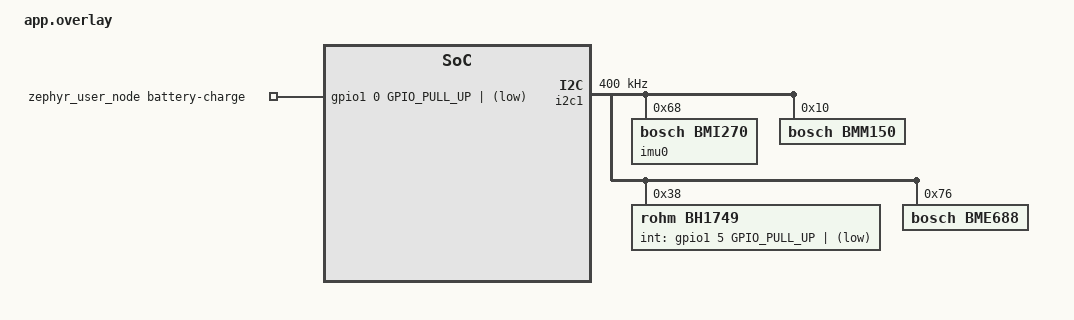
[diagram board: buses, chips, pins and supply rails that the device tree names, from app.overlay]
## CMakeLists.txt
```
# SPDX-License-Identifier: LicenseRef-Nordic-5-Clause
cmake_minimum_required(VERSION 3.20.0)

# Définition de la carte (override possible via -b BOARD=...)
set(BOARD thingy53_nrf5340_cpuapp)

# Overlay DTS à appliquer
set(DTC_OVERLAY_FILE ${CMAKE_CURRENT_SOURCE_DIR}/app.overlay)

find_package(Zephyr REQUIRED HINTS $ENV{ZEPHYR_BASE})
project(40_thread_gps LANGUAGES C CXX)

# Intégration de nlohmann/json
include(FetchContent)
FetchContent_Declare(
  nlohmann_json
  GIT_REPOSITORY https://github.com/nlohmann/json.git
  GIT_TAG v3.11.2
)
FetchContent_MakeAvailable(nlohmann_json)

# Rassemblement des sources
file(GLOB_RECURSE app_sources
  ${CMAKE_CURRENT_SOURCE_DIR}/src/*.c
  ${CMAKE_CURRENT_SOURCE_DIR}/src/*.cpp
)

if(NOT app_sources)
  message(FATAL_ERROR "Aucune source trouvée dans src/")
endif()

target_sources(app PRIVATE ${app_sources})

# Inclure les headers
target_include_directories(app PRIVATE
  ${CMAKE_CURRENT_SOURCE_DIR}/include
  ${CMAKE_CURRENT_SOURCE_DIR}/../../subsys/udp_broadcast
  ${CMAKE_CURRENT_SOURCE_DIR}/../../subsys/app_led
  ${CMAKE_CURRENT_SOURCE_DIR}/../../subsys/bme688_server
)

# Lier la bibliothèque JSON
target_link_libraries(app PRIVATE nlohmann_json::nlohmann_json)
```

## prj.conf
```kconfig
#
# SPDX-License-Identifier: LicenseRef-Nordic-5-Clause
#

# —— Application features ——
CONFIG_APP_BATTERY=y
CONFIG_APP_LED=y
CONFIG_APP_OT=y
CONFIG_UDP_BROADCAST=y

# —— Persist flash state ——
CONFIG_APP_FLASH=y
CONFIG_FLASH=y
CONFIG_MPU_ALLOW_FLASH_WRITE=y
CONFIG_FLASH_PAGE_LAYOUT=y
CONFIG_SOC_FLASH_NRF_EMULATE_ONE_BYTE_WRITE_ACCESS=y

# —— Hardware dependencies ——
CONFIG_PWM=y
CONFIG_GPIO=y
CONFIG_ADC=y

# —— Bus et capteurs ——
CONFIG_I2C=y
CONFIG_SENSOR=y
CONFIG_BMI270=y                # Bosch BMI270 IMU
CONFIG_BH1749=y                # Rohm BH1749 light sensor
CONFIG_BME688=n
CONFIG_BME688_SERVER=n
CONFIG_BME688_BSEC2=n

# —— Networking (Thread over UDP) ——
CONFIG_NETWORKING=y
CONFIG_NET_L2_OPENTHREAD=y
CONFIG_NET_IPV6=y
CONFIG_NET_CONFIG_NEED_IPV6=y
CONFIG_NET_SOCKETS=y
CONFIG_NET_SOCKETS_POLL_MAX=5
CONFIG_NET_SOCKETS_POSIX_NAMES=y

CONFIG_OPENTHREAD_NORDIC_LIBRARY_MASTER=y
CONFIG_OPENTHREAD_FTD=y
CONFIG_OPENTHREAD_MANUAL_START=n
CONFIG_OPENTHREAD_JOINER=y
CONFIG_OPENTHREAD_JOINER_AUTOSTART=y
CONFIG_OPENTHREAD_JOINER_PSKD="ABCDE2"

# —— Fixed Thread network ——
CONFIG_OPENTHREAD_NETWORK_NAME="FarmRobotics"
CONFIG_OPENTHREAD_PANID=0x1234

# —— Shell CLI (UART) ——
CONFIG_SHELL=y
CONFIG_SHELL_BACKEND_SERIAL=y
CONFIG_SHELL_HISTORY=y
CONFIG_OPENTHREAD_CLI=y         # Expose ot> commands in shell

# —— C++ support ——
CONFIG_CPLUSPLUS=y
CONFIG_LIB_CPLUSPLUS=y
CONFIG_NEWLIB_LIBC=y
CONFIG_NEWLIB_LIBC_NANO=n
CONFIG_EXCEPTIONS=y
CONFIG_STD_CPP17=y

# —— Stack & optimisations ——
CONFIG_MAIN_STACK_SIZE=8192
CONFIG_COMPILER_OPT="-Wno-psabi"
CONFIG_NEWLIB_LIBC_FLOAT_PRINTF=y
```

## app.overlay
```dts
/dts-v1/;

/ {
    aliases {
        /* Si tu veux un alias câblé pour le noeud utilisateur */
        zephyr_user = &zephyr_user_node;
    };

    chosen {
        /* configuration de la console UART0 */
        zephyr,console = &uart0;
    };

    /* noeud personnalisé pour la charge batterie */
    zephyr_user_node: zephyr,user {
        battery-charge-gpios = <&gpio1 0 GPIO_PULL_UP | GPIO_ACTIVE_LOW>;
    };
};

/ {
    /* ADC pour mesurer voltage batterie via canal 2 */
    adc {
        #address-cells = <1>;
        #size-cells = <0>;

        channel@2 {
            reg = <2>;
            zephyr,gain = "ADC_GAIN_1";
            zephyr,reference = "ADC_REF_INTERNAL";
            zephyr,acquisition-time = <ADC_ACQ_TIME(ADC_ACQ_TIME_MICROSECONDS, 40)>;
            zephyr,input-positive = <NRF_SAADC_AIN2>;
            zephyr,resolution = <12>;
            zephyr,oversampling = <4>;
        };
    };
};

&i2c1 {
    status = "okay";
    clock-frequency = <I2C_BITRATE_FAST>;

    imu0: bmi270@68 {
        compatible = "bosch,bmi270";
        reg = <0x68>;
        status = "okay";
    };

    bmm150: bmm150@10 {
        compatible = "bosch,bmm150";
        reg = <0x10>;
        status = "okay";
    };

    bh1749: bh1749@38 {
        compatible = "rohm,bh1749";
        reg = <0x38>;
        status = "okay";
        int-gpios = <&gpio1 5 GPIO_PULL_UP | GPIO_ACTIVE_LOW>;
    };

    bme688: bme688@76 {
        compatible = "bosch,bme688";
        reg = <0x76>;
        status = "okay";
    };
};
```

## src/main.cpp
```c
#include <zephyr/kernel.h>
#include <zephyr/logging/log.h>
#include <zephyr/shell/shell.h>
#include <zephyr/device.h>
#include <zephyr/drivers/sensor.h>
#include <zephyr/drivers/gpio.h>
#include <zephyr/net/socket.h>
#include <zephyr/net/net_ip.h>
#include <zephyr/net/openthread.h>               // <-- for openthread_get_default_instance()

#include "udp_broadcast.h"
#include "app_led.h"
#include "app_battery.h"
#include "bme688_server.h"
#include <json.hpp>

using json = nlohmann::json;

LOG_MODULE_REGISTER(sensor_server, LOG_LEVEL_INF);

#define INTERVAL_S   5
#define UDP_PORT     61631

/* LED0 alias */
#define LED0_NODE   DT_ALIAS(led0)
static const struct gpio_dt_spec led0 = GPIO_DT_SPEC_GET(LED0_NODE, gpios);

/* Sensor + Thread socket */
static const struct device *dev_bh1749, *dev_bmi270;
static int sock_fd;
static struct sockaddr_in6 dest;
static char uid[20];

static void init_uid(void) {
    uint32_t id0 = NRF_FICR->INFO.DEVICEID[0];
    uint32_t id1 = NRF_FICR->INFO.DEVICEID[1];
    snprintf(uid, sizeof(uid), "%08X%08X", id0, id1);
    LOG_INF("UID: %s", uid);
}

static void init_led(void) {
    if (device_is_ready(led0.port)) {
        gpio_pin_configure_dt(&led0, GPIO_OUTPUT_INACTIVE);
    } else {
        LOG_ERR("LED0 not ready");
    }
}

static void init_sensors(void) {
    dev_bh1749 = DEVICE_DT_GET(DT_ALIAS(bh1749));
    dev_bmi270 = DEVICE_DT_GET(DT_NODELABEL(bmi270));
    if (!device_is_ready(dev_bh1749)) {
        LOG_ERR("BH1749 not ready");
    }
    if (!device_is_ready(dev_bmi270)) {
        LOG_ERR("BMI270 not ready");
    }
}

static void init_network(void) {
    sock_fd = socket(AF_INET6, SOCK_DGRAM, IPPROTO_UDP);
    dest.sin6_family = AF_INET6;
    dest.sin6_port   = htons(UDP_PORT);
    inet_pton(AF_INET6, "ff03::1", &dest.sin6_addr);
    int rc = connect(sock_fd, (struct sockaddr *)&dest, sizeof(dest));
    if (rc < 0) {
        LOG_ERR("connect() failed: %d", rc);
    }
}

static void gather_send(void) {
    json j;
    j["uptime_s"] = k_uptime_get() / 1000;
    char vbuf[16];
    app_battery_voltage_text(vbuf);
    j["voltage"]  = vbuf;
    j["charging"] = app_battery_charging();

    /* Light */
    sensor_sample_fetch_chan(dev_bh1749, SENSOR_CHAN_ALL);
    struct sensor_value sv;
    int r,g,b,ir;
    sensor_channel_get(dev_bh1749, SENSOR_CHAN_RED,   &sv); r  = sv.val1;
    sensor_channel_get(dev_bh1749, SENSOR_CHAN_GREEN, &sv); g  = sv.val1;
    sensor_channel_get(dev_bh1749, SENSOR_CHAN_BLUE,  &sv); b  = sv.val1;
    sensor_channel_get(dev_bh1749, SENSOR_CHAN_IR,    &sv); ir = sv.val1;
    j["light"] = {r,g,b,ir};

    /* IMU */
    sensor_sample_fetch(dev_bmi270);
    struct sensor_value acc[3], gyr[3];
    sensor_channel_get(dev_bmi270, SENSOR_CHAN_ACCEL_XYZ, acc);
    sensor_channel_get(dev_bmi270, SENSOR_CHAN_GYRO_XYZ,  gyr);
    j["accel"] = {acc[0].val1, acc[1].val1, acc[2].val1};
    j["gyro"]  = {gyr[0].val1, gyr[1].val1, gyr[2].val1};

    /* Build & send */
    std::string topic = "thread_tags/" + std::string(uid) + "/all";
    std::string msg   = topic + j.dump();

    app_led_on();
    send_udp(msg);
    app_led_off();

    LOG_INF("Sent: %s", msg.c_str());

    /* Print Thread info on serial */
    struct openthread_context *ctx = openthread_get_default_context();
    otInstance *inst = openthread_get_default_instance();
    uint8_t   role = otThreadGetDeviceRole(inst);
    uint8_t   chan = otThreadGetChannel(inst);
    uint16_t  pan  = otThreadGetPanId(inst);
    const otExtPanId *ext = otThreadGetExtendedPanId(inst);

    LOG_INF("Role=%u Ch=%u PAN=0x%04x EXT=%02x…%02x",
        role, chan, pan, ext->m8[0], ext->m8[7]
    );
}

/* CLI “send” command */
static int cmd_send(const struct shell *sh, size_t argc, char **argv) {
    ARG_UNUSED(argc); ARG_UNUSED(argv);
    gather_send();
    shell_print(sh, "Manual send");
    return 0;
}
SHELL_CMD_REGISTER(send, NULL, "Force sensor send", cmd_send);

extern "C" void main(void) {
    LOG_INF("Starting sensors+CLI (5 s interval)");
    app_ot_init();
    app_battery_init();
    bme688_server_init();

    init_led();
    init_uid();
    init_sensors();
    init_network();

    /* Blink green once at start */
    app_led_blink_green(0.5,200,200);

    while (1) {
        gather_send();
        k_sleep(K_SECONDS(INTERVAL_S));
    }
}
```
